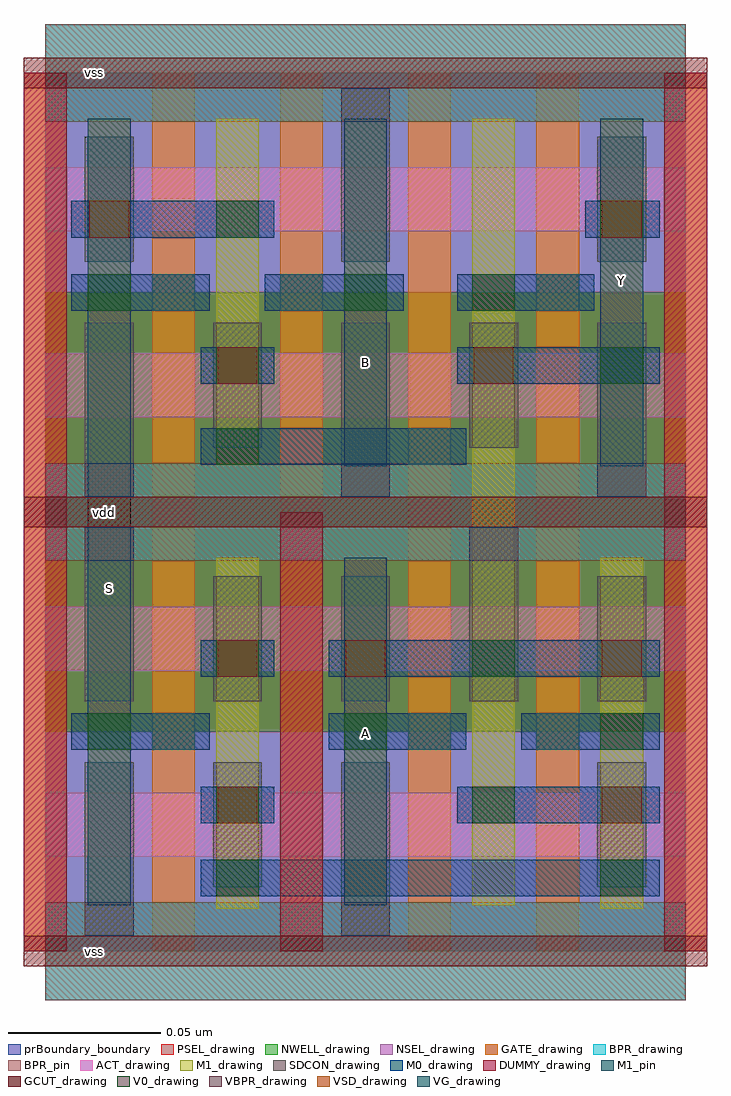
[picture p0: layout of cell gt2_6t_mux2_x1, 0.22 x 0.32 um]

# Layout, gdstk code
import gdstk
lib = gdstk.Library(unit=1e-6, precision=5e-10)
def R(c, l, rs):  # rectangles x0, y0, x1, y1
    for r in rs: c.add(gdstk.rectangle(r[:2], r[2:], *l))
def A(c, l, x, y, w, h, nx, ny, dx, dy):  # array of equal rectangles
    R(c, l, [(x+i*dx, y+j*dy, x+i*dx+w, y+j*dy+h) for i in range(nx) for j in range(ny)])
NWELL_drawing = (1, 0)
ACT_drawing = (2, 0)
GATE_drawing = (3, 0)
DUMMY_drawing = (4, 0)
GCUT_drawing = (5, 0)
NSEL_drawing = (6, 0)
PSEL_drawing = (7, 0)
BPR_drawing = (8, 0)
BPR_pin = (8, 251)
VBPR_drawing = (9, 0)
SDCON_drawing = (10, 0)
VSD_drawing = (11, 0)
VG_drawing = (12, 0)
M0_drawing = (20, 0)
V0_drawing = (22, 0)
M1_drawing = (25, 0)
M1_pin = (25, 251)
prBoundary_boundary = (235, 250)

gt2_6t_mux2_x1 = lib.new_cell('gt2_6t_mux2_x1')
R(gt2_6t_mux2_x1, NWELL_drawing, [(0,0.072,0.21,0.144), (0,0.144,0.21,0.216)])
R(gt2_6t_mux2_x1, ACT_drawing, [(0,0.031,0.21,0.052), (0,0.092,0.21,0.113), (0,0.175,0.21,0.196), (0,0.236,0.21,0.257)])
A(gt2_6t_mux2_x1, GATE_drawing, -0.007, 0, 0.014, 0.288, 6, 1, 0.042, 0)
R(gt2_6t_mux2_x1, DUMMY_drawing, [(-0.007,0,0.007,0.288), (0.077,0,0.091,0.144), (0.203,0,0.217,0.288)])
A(gt2_6t_mux2_x1, GCUT_drawing, -0.007, -0.005, 0.224, 0.01, 1, 3, 0, 0.144)
R(gt2_6t_mux2_x1, NSEL_drawing, [(0,0,0.21,0.072), (0,0.216,0.21,0.288)])
R(gt2_6t_mux2_x1, PSEL_drawing, [(0,0.072,0.21,0.144), (0,0.144,0.21,0.216)])
A(gt2_6t_mux2_x1, BPR_drawing, 0, -0.016, 0.21, 0.032, 1, 3, 0, 0.144)
A(gt2_6t_mux2_x1, BPR_pin, 0, -0.016, 0.21, 0.032, 1, 3, 0, 0.144)
A(gt2_6t_mux2_x1, VBPR_drawing, 0.013, 0.149, 0.016, 0.011, 3, 1, 0.084, 0)
R(gt2_6t_mux2_x1, VBPR_drawing, [(0.013,0.005,0.029,0.016), (0.097,0.005,0.113,0.016), (0.013,0.128,0.029,0.139), (0.139,0.128,0.155,0.139), (0.097,0.272,0.113,0.283)])
A(gt2_6t_mux2_x1, SDCON_drawing, 0.013, 0.149, 0.016, 0.057, 3, 1, 0.084, 0)
R(gt2_6t_mux2_x1, SDCON_drawing, [(0.013,0.005,0.029,0.062), (0.097,0.005,0.113,0.062), (0.055,0.021,0.071,0.062), (0.181,0.021,0.197,0.062), (0.013,0.082,0.029,0.139), (0.055,0.082,0.071,0.123), (0.097,0.082,0.113,0.123), (0.139,0.082,0.155,0.139), (0.181,0.082,0.197,0.123), (0.055,0.165,0.071,0.206), (0.139,0.165,0.155,0.206), (0.013,0.226,0.029,0.267), (0.097,0.226,0.113,0.283), (0.181,0.226,0.197,0.267)])
R(gt2_6t_mux2_x1, VSD_drawing, [(0.0565,0.042,0.0695,0.054), (0.1825,0.042,0.1955,0.054), (0.0565,0.09,0.0695,0.102), (0.0985,0.09,0.1115,0.102), (0.1825,0.09,0.1955,0.102), (0.0565,0.186,0.0695,0.198), (0.1405,0.186,0.1535,0.198), (0.0145,0.234,0.0275,0.246), (0.1825,0.234,0.1955,0.246)])
R(gt2_6t_mux2_x1, VG_drawing, [(0.035,0.066,0.049,0.078), (0.119,0.066,0.133,0.078), (0.161,0.066,0.175,0.078), (0.119,0.1595,0.133,0.1715), (0.035,0.21,0.049,0.222), (0.077,0.21,0.091,0.222), (0.161,0.21,0.175,0.222)])
R(gt2_6t_mux2_x1, M0_drawing, [(0.051,0.018,0.2015,0.03), (0.051,0.042,0.075,0.054), (0.135,0.042,0.2015,0.054), (0.0085,0.066,0.054,0.078), (0.093,0.066,0.138,0.078), (0.156,0.066,0.2015,0.078), (0.051,0.09,0.075,0.102), (0.093,0.09,0.2015,0.102), (0.051,0.1595,0.138,0.1715), (0.051,0.186,0.075,0.198), (0.135,0.186,0.2015,0.198), (0.0085,0.21,0.054,0.222), (0.072,0.21,0.1175,0.222), (0.135,0.21,0.18,0.222), (0.0085,0.234,0.075,0.246), (0.177,0.234,0.2015,0.246)])
A(gt2_6t_mux2_x1, V0_drawing, 0.014, 0.066, 0.014, 0.012, 3, 1, 0.084, 0)
R(gt2_6t_mux2_x1, V0_drawing, [(0.056,0.018,0.07,0.03), (0.182,0.018,0.196,0.03), (0.056,0.042,0.07,0.054), (0.14,0.042,0.154,0.054), (0.056,0.09,0.07,0.102), (0.14,0.09,0.154,0.102), (0.056,0.1595,0.07,0.1715), (0.056,0.186,0.07,0.198), (0.182,0.186,0.196,0.198), (0.014,0.21,0.028,0.222), (0.098,0.21,0.112,0.222), (0.14,0.21,0.154,0.222), (0.056,0.234,0.07,0.246), (0.182,0.234,0.196,0.246)])
R(gt2_6t_mux2_x1, M1_drawing, [(0.056,0.014,0.07,0.129), (0.182,0.014,0.196,0.129), (0.014,0.015,0.028,0.273), (0.098,0.015,0.112,0.129), (0.14,0.015,0.154,0.273), (0.098,0.159,0.112,0.273), (0.182,0.159,0.196,0.273), (0.056,0.1595,0.07,0.273)])
R(gt2_6t_mux2_x1, M1_pin, [(0.014,0.015,0.028,0.273), (0.098,0.015,0.112,0.129), (0.098,0.159,0.112,0.273), (0.182,0.159,0.196,0.273)])
R(gt2_6t_mux2_x1, prBoundary_boundary, [(0,0,0.21,0.288)])
gt2_6t_mux2_x1.add(gdstk.Label('vss', (0.016,0.288), layer=8, texttype=251))
gt2_6t_mux2_x1.add(gdstk.Label('vss', (0.016,0), layer=8, texttype=251))
gt2_6t_mux2_x1.add(gdstk.Label('vdd', (0.0195,0.144), layer=8, texttype=251))
gt2_6t_mux2_x1.add(gdstk.Label('Y', (0.189,0.22), layer=25, texttype=251))
gt2_6t_mux2_x1.add(gdstk.Label('S', (0.021,0.119), layer=25, texttype=251))
gt2_6t_mux2_x1.add(gdstk.Label('B', (0.105,0.193), layer=25, texttype=251))
gt2_6t_mux2_x1.add(gdstk.Label('A', (0.105,0.0715), layer=25, texttype=251))

lib.write_gds('gt2_6t_mux2_x1.gds')
